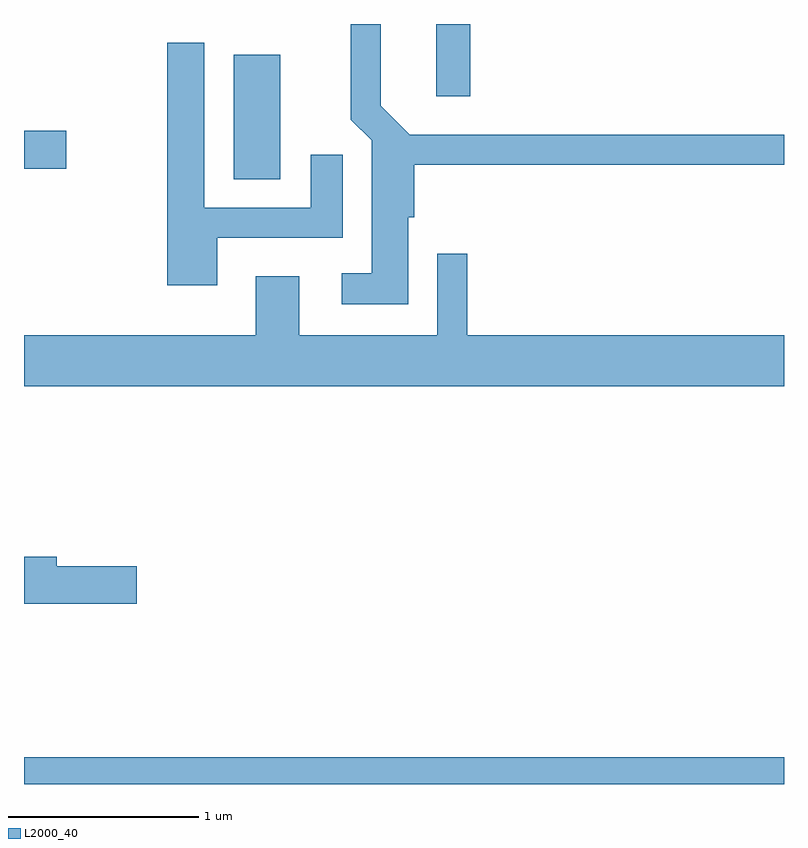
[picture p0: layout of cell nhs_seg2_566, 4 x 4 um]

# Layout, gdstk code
import gdstk
lib = gdstk.Library(unit=1e-6, precision=1e-09)
def R(c, l, rs):  # rectangles x0, y0, x1, y1
    for r in rs: c.add(gdstk.rectangle(r[:2], r[2:], *l))
def P(c, l, *ps):  # polygons
    for p in ps: c.add(gdstk.Polygon(p, *l))
L2000_40 = (2000, 40)

nhs_seg2_566 = lib.new_cell('nhs_seg2_566')
R(nhs_seg2_566, L2000_40, [(201.611,1021.802,205.611,1021.944), (202.716,1024.986,202.959,1025.639), (201.611,1025.041,201.834,1025.239), (203.781,1025.421,203.959,1025.802)])
P(nhs_seg2_566, L2000_40, [(203.634,1024.786),(203.664,1024.786),(203.664,1025.061),(205.611,1025.061),(205.611,1025.219),(203.642,1025.219),(203.489,1025.372),(203.489,1025.802),(203.331,1025.802),(203.331,1025.299),(203.441,1025.189),(203.441,1024.489),(203.283,1024.489),(203.283,1024.326),(203.634,1024.326)],
  [(202.629,1024.676),(203.289,1024.676),(203.289,1025.113),(203.121,1025.113),(203.121,1024.834),(202.559,1024.834),(202.559,1025.704),(202.366,1025.704),(202.366,1024.426),(202.629,1024.426)],
  [(205.611,1024.164),(203.944,1024.164),(203.944,1024.593),(203.786,1024.593),(203.786,1024.164),(203.059,1024.164),(203.059,1024.474),(202.831,1024.474),(202.831,1024.164),(201.611,1024.164),(201.611,1023.896),(205.611,1023.896)],
  [(202.204,1022.949),(201.784,1022.949),(201.784,1022.999),(201.611,1022.999),(201.611,1022.751),(202.204,1022.751)])

lib.write_gds('nhs_seg2_566.gds')
